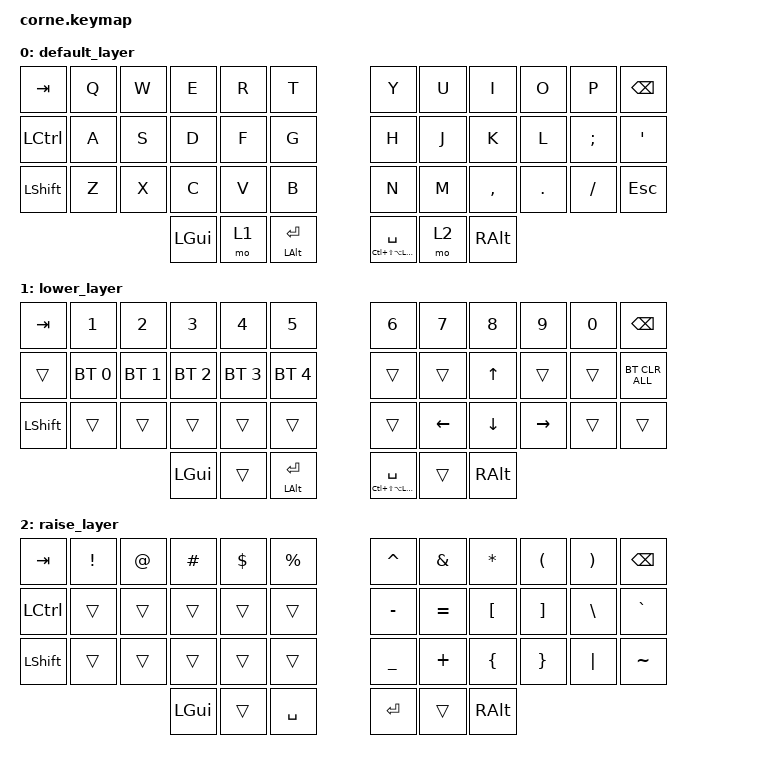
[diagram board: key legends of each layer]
/*
 * Copyright (c) 2020 The ZMK Contributors
 *
 * SPDX-License-Identifier: MIT
 */

#include <behaviors.dtsi>
#include <dt-bindings/zmk/keys.h>
#include <dt-bindings/zmk/bt.h>

/ {
  behaviors {
    tp: tap_preferred {
      compatible = "zmk,behavior-hold-tap";
      #binding-cells = <2>;
      tapping-term-ms = <200>;
      quick-tap-ms = <150>;
      flavor = "tap-preferred";
      bindings = <&kp>, <&kp>;
    };
    hp: hold_preferred {
      compatible = "zmk,behavior-hold-tap";
      #binding-cells = <2>;
      tapping-term-ms = <200>;
      quick-tap-ms = <150>;
      flavor = "hold-preferred";
      bindings = <&kp>, <&kp>;
    };
  };


  keymap {
    compatible = "zmk,keymap";

    default_layer {
      // -----------------------------------------------------------------------------------------
// |  TAB |  Q  |  W  |  E  |  R  |  T  |   |  Y  |  U   |  I  |  O  |  P  | BKSP |
// | CTRL |  A  |  S  |  D  |  F  |  G  |   |  H  |  J   |  K  |  L  |  ;  |  '   |
// | SHFT |  Z  |  X  |  C  |  V  |  B  |   |  N  |  M   |  ,  |  .  |  /  | ESC  |
//                    | GUI | LWR | ALT/ENTER |   | HYPER/SPACE | RSE  | ALT |
                        bindings = <
   &kp TAB   &kp Q &kp W &kp E &kp R &kp T   &kp Y &kp U  &kp I     &kp O   &kp P    &kp BSPC
   &kp LCTRL &kp A &kp S &kp D &kp F &kp G   &kp H &kp J  &kp K     &kp L   &kp SEMI &kp SQT
   &kp LSHFT &kp Z &kp X &kp C &kp V &kp B   &kp N &kp M  &kp COMMA &kp DOT &kp FSLH &kp ESC
                  &kp LGUI &mo 1 &tp LALT RET     &tp LC(LS(LA(LGUI))) SPACE &mo 2 &kp RALT
                        >;
                };
                lower_layer {
// -----------------------------------------------------------------------------------------
// |  TAB |  1  |  2  |  3  |  4  |  5  |   |  6  |  7  |  8  |  9  |  0  |  BKSP |
// |      | BT1 | BT2 | BT3 | BT4 | BT5 |   |     |     |  UP |     |     | BTCLR |
// | SHFT |     |     |     |     |     |   |     | LFT | DWN | RGT |     |       |
//                    | GUI |     | ALT/ENTER |   | HYPER/SPACE |     | ALT |
                        bindings = <
   &kp TAB    &kp N1       &kp N2       &kp N3       &kp N4       &kp N5         &kp N6   &kp N7   &kp N8 &kp N9    &kp N0 &kp BSPC
   &trans &bt BT_SEL 0 &bt BT_SEL 1 &bt BT_SEL 2 &bt BT_SEL 3 &bt BT_SEL 4   &trans &trans &kp UP &trans &trans &bt BT_CLR_ALL
   &kp LSHFT  &trans       &trans       &trans       &trans       &trans         &trans &kp LEFT &kp DOWN &kp RIGHT &trans &trans
                                    &kp LGUI     &trans       &tp LALT RET       &tp LC(LS(LA(LGUI))) SPACE  &trans   &kp RALT
                        >;
                };

                raise_layer {
// -----------------------------------------------------------------------------------------
// |  TAB |  !  |  @  |  #  |  $  |  %  |   |  ^  |  &  |  *  |  (  |  )  | BKSP |
// | CTRL |     |     |     |     |     |   |  -  |  =  |  [  |  ]  |  \  |  `   |
// | SHFT |     |     |     |     |     |   |  _  |  +  |  {  |  }  | "|" |  ~   |
//                    | GUI |     | SPC |   | ENT |     | ALT |
                        bindings = <
   &kp  TAB  &kp EXCL &kp AT &kp HASH &kp DLLR &kp PRCNT   &kp CARET &kp AMPS  &kp ASTRK &kp LPAR &kp RPAR &kp BSPC
   &kp LCTRL &trans   &trans &trans   &trans   &trans      &kp MINUS &kp EQUAL &kp LBKT  &kp RBKT &kp BSLH &kp GRAVE
   &kp LSHFT &trans   &trans &trans   &trans   &trans      &kp UNDER &kp PLUS  &kp LBRC  &kp RBRC &kp PIPE &kp TILDE
                             &kp LGUI &trans   &kp SPACE   &kp RET   &trans    &kp RALT
                        >;
                };
        };
};
